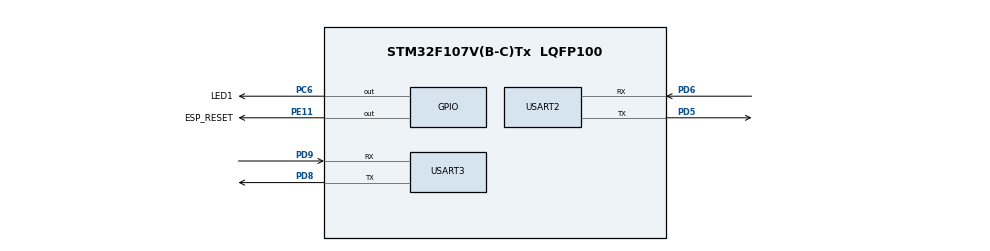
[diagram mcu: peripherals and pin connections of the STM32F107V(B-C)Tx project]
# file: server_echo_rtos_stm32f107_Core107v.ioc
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Dma.Request0=USART3_RX
Dma.USART3_RX.0.Direction=DMA_PERIPH_TO_MEMORY
Dma.USART3_RX.0.Instance=DMA1_Channel3
Dma.USART3_RX.0.MemDataAlignment=DMA_MDATAALIGN_BYTE
Dma.USART3_RX.0.MemInc=DMA_MINC_ENABLE
Dma.USART3_RX.0.Mode=DMA_CIRCULAR
Dma.USART3_RX.0.PeriphDataAlignment=DMA_PDATAALIGN_BYTE
Dma.USART3_RX.0.PeriphInc=DMA_PINC_DISABLE
Dma.USART3_RX.0.Priority=DMA_PRIORITY_LOW
FREERTOS.Tasks01=defaultTask,24,128,StartDefaultTask,Default,NULL,Dynamic,NULL,NULL
Mcu.Family=STM32F1
Mcu.Name=STM32F107V(B-C)Tx
Mcu.Package=LQFP100
NVIC.DMA1_Channel3_IRQn=true\:5\:0\:false\:false\:true\:true\:false\:true
NVIC.PriorityGroup=NVIC_PRIORITYGROUP_4
NVIC.USART3_IRQn=true\:5\:0\:false\:false\:true\:true\:true\:true
OSC_IN.Mode=HSE-External-Oscillator
OSC_IN.Signal=RCC_OSC_IN
OSC_OUT.Mode=HSE-External-Oscillator
OSC_OUT.Signal=RCC_OSC_OUT
PC14-OSC32_IN.Mode=LSE-External-Oscillator
PC14-OSC32_IN.Signal=RCC_OSC32_IN
PC15-OSC32_OUT.Mode=LSE-External-Oscillator
PC15-OSC32_OUT.Signal=RCC_OSC32_OUT
PC6.GPIO_Label=LED1
PC6.Signal=GPIO_Output
PD5.Mode=Asynchronous
PD5.Signal=USART2_TX
PD6.Mode=Asynchronous
PD6.Signal=USART2_RX
PD8.Mode=Asynchronous
PD8.Signal=USART3_TX
PD9.Mode=Asynchronous
PD9.Signal=USART3_RX
PE11.GPIO_Label=ESP_RESET
PE11.Signal=GPIO_Output
ProjectManager.HeapSize=0x400
ProjectManager.StackSize=0x800
ProjectManager.TargetToolchain=Makefile
RCC.AHBFreq_Value=72000000
RCC.APB1CLKDivider=RCC_HCLK_DIV2
RCC.APB1Freq_Value=36000000
RCC.APB1TimFreq_Value=72000000
RCC.APB2Freq_Value=72000000
RCC.APB2TimFreq_Value=72000000
RCC.HCLKFreq_Value=72000000
RCC.HSEDivPLL=RCC_HSE_PREDIV_DIV5
RCC.HSE_VALUE=25000000
RCC.PLLMUL=RCC_PLL_MUL9
RCC.PLLSourceVirtual=RCC_PLLSOURCE_HSE
RCC.Prediv1Source=RCC_PREDIV1_SOURCE_PLL2
RCC.Prediv2=RCC_HSE_PREDIV2_DIV5
RCC.RTCClockSelection=RCC_RTCCLKSOURCE_LSE
RCC.SYSCLKFreq_VALUE=72000000
RCC.SYSCLKSource=RCC_SYSCLKSOURCE_PLLCLK
RCC.USBFreq_Value=48000000
USART2.VirtualMode=VM_ASYNC
USART3.VirtualMode=VM_ASYNC
VP_FREERTOS_VS_CMSIS_V2.Mode=CMSIS_V2
VP_RTC_VS_RTC_Activate.Mode=RTC_Enabled
VP_RTC_VS_RTC_Calendar.Mode=RTC_Calendar
VP_SYS_VS_ND.Mode=No_Debug
board=custom

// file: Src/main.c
/* USER CODE BEGIN Header */
/**
  ******************************************************************************
  * @file           : main.c
  * @brief          : Main program body
  ******************************************************************************
  * @attention
  *
  * <h2><center>&copy; Copyright (c) 2020 STMicroelectronics.
  * All rights reserved.</center></h2>
  *
  * This software component is licensed by ST under Ultimate Liberty license
  * SLA0044, the "License"; You may not use this file except in compliance with
  * the License. You may obtain a copy of the License at:
  *                             www.st.com/SLA0044
  *
  ******************************************************************************
  */
/* USER CODE END Header */

#include "main.h"
#include "cmsis_os.h"

/* USER CODE BEGIN Includes */
#include "esp/esp.h"
#include "station_manager.h"
#include "netconn_client.h"
/* USER CODE END Includes */

/* USER CODE BEGIN PD */
static espr_t esp_callback_func(esp_evt_t* evt);
static espr_t server_callback_func(esp_evt_t* evt);
static void init_thread(void* arg);
/* USER CODE END PD */

/* Definitions for defaultTask */
osThreadId_t defaultTaskHandle;
const osThreadAttr_t defaultTask_attributes = {
  .name = "defaultTask",
  .priority = (osPriority_t) osPriorityNormal,
  .stack_size = 128 * 4
};

void SystemClock_Config(void);
static void MX_GPIO_Init(void);
static void MX_DMA_Init(void);
static void MX_USART2_UART_Init(void);
static void MX_USART3_UART_Init(void);
static void MX_RTC_Init(void);
void StartDefaultTask(void *argument);

int main(void)
{

  /* MCU Configuration--------------------------------------------------------*/

  /* Reset of all peripherals, Initializes the Flash interface and the Systick. */

  LL_APB2_GRP1_EnableClock(LL_APB2_GRP1_PERIPH_AFIO);
  LL_APB1_GRP1_EnableClock(LL_APB1_GRP1_PERIPH_PWR);

  NVIC_SetPriorityGrouping(NVIC_PRIORITYGROUP_4);

  /* System interrupt init*/
  /* PendSV_IRQn interrupt configuration */
  NVIC_SetPriority(PendSV_IRQn, NVIC_EncodePriority(NVIC_GetPriorityGrouping(),15, 0));
  /* SysTick_IRQn interrupt configuration */
  NVIC_SetPriority(SysTick_IRQn, NVIC_EncodePriority(NVIC_GetPriorityGrouping(),15, 0));

  /** DISABLE: JTAG-DP Disabled and SW-DP Disabled
  */
  LL_GPIO_AF_DisableRemap_SWJ();

  /* Configure the system clock */
  SystemClock_Config();

  /* Initialize all configured peripherals */
  MX_GPIO_Init();
  MX_DMA_Init();
  MX_USART2_UART_Init();
  MX_USART3_UART_Init();
  MX_RTC_Init();

  /* Init scheduler */
  osKernelInitialize();

  /* Create the thread(s) */
  /* creation of defaultTask */
  defaultTaskHandle = osThreadNew(StartDefaultTask, NULL, &defaultTask_attributes);

  /* USER CODE BEGIN RTOS_THREADS */
  /* add threads, ... */
    /* Initialize, create first thread and start kernel */
    const osThreadAttr_t attr = {
            .stack_size = 2*512
    };
    osThreadNew(init_thread, NULL, &attr);
  /* USER CODE END RTOS_THREADS */

  /* Start scheduler */
  osKernelStart();

  /* We should never get here as control is now taken by the scheduler */
  /* Infinite loop */
  while (1)
  {

  }
}

void SystemClock_Config(void)
{
  LL_FLASH_SetLatency(LL_FLASH_LATENCY_2);

   if(LL_FLASH_GetLatency() != LL_FLASH_LATENCY_2)
  {
    Error_Handler();
  }
  LL_RCC_HSE_Enable();

   /* Wait till HSE is ready */
  while(LL_RCC_HSE_IsReady() != 1)
  {

  }
  LL_PWR_EnableBkUpAccess();
  LL_RCC_ForceBackupDomainReset();
  LL_RCC_ReleaseBackupDomainReset();
  LL_RCC_LSE_Enable();

   /* Wait till LSE is ready */
  while(LL_RCC_LSE_IsReady() != 1)
  {

  }
  LL_RCC_SetRTCClockSource(LL_RCC_RTC_CLKSOURCE_LSE);
  LL_RCC_EnableRTC();
  LL_RCC_PLL_ConfigDomain_SYS(LL_RCC_PLLSOURCE_PLL2_DIV_5, LL_RCC_PLL_MUL_9);
  LL_RCC_PLL_ConfigDomain_PLL2(LL_RCC_HSE_PREDIV2_DIV_5, LL_RCC_PLL2_MUL_8);
  LL_RCC_PLL2_Enable();

   /* Wait till PLL is ready */
  while(LL_RCC_PLL2_IsReady() != 1)
  {

  }
  LL_RCC_PLL_Enable();

   /* Wait till PLL is ready */
  while(LL_RCC_PLL_IsReady() != 1)
  {

  }
  LL_RCC_SetAHBPrescaler(LL_RCC_SYSCLK_DIV_1);
  LL_RCC_SetAPB1Prescaler(LL_RCC_APB1_DIV_2);
  LL_RCC_SetAPB2Prescaler(LL_RCC_APB2_DIV_1);
  LL_RCC_SetSysClkSource(LL_RCC_SYS_CLKSOURCE_PLL);

   /* Wait till System clock is ready */
  while(LL_RCC_GetSysClkSource() != LL_RCC_SYS_CLKSOURCE_STATUS_PLL)
  {

  }
  LL_Init1msTick(72000000);
  LL_SetSystemCoreClock(72000000);
}

static void MX_RTC_Init(void)
{

  LL_RTC_InitTypeDef RTC_InitStruct = {0};
  LL_RTC_TimeTypeDef RTC_TimeStruct = {0};

    LL_PWR_EnableBkUpAccess();
    /* Enable BKP CLK enable for backup registers */
    LL_APB1_GRP1_EnableClock(LL_APB1_GRP1_PERIPH_BKP);
  /* Peripheral clock enable */
  LL_RCC_EnableRTC();

  /** Initialize RTC and set the Time and Date
  */
  RTC_InitStruct.AsynchPrescaler = 0xFFFFFFFFU;
  LL_RTC_Init(RTC, &RTC_InitStruct);
  LL_RTC_SetAsynchPrescaler(RTC, 0xFFFFFFFFU);
  /** Initialize RTC and set the Time and Date
  */
  RTC_TimeStruct.Hours = 0;
  RTC_TimeStruct.Minutes = 0;
  RTC_TimeStruct.Seconds = 0;
  LL_RTC_TIME_Init(RTC, LL_RTC_FORMAT_BCD, &RTC_TimeStruct);

}

static void MX_USART2_UART_Init(void)
{

  LL_USART_InitTypeDef USART_InitStruct = {0};

  LL_GPIO_InitTypeDef GPIO_InitStruct = {0};

  /* Peripheral clock enable */
  LL_APB1_GRP1_EnableClock(LL_APB1_GRP1_PERIPH_USART2);

  LL_APB2_GRP1_EnableClock(LL_APB2_GRP1_PERIPH_GPIOD);
  /**USART2 GPIO Configuration
  PD5   ------> USART2_TX
  PD6   ------> USART2_RX
  */
  GPIO_InitStruct.Pin = LL_GPIO_PIN_5;
  GPIO_InitStruct.Mode = LL_GPIO_MODE_ALTERNATE;
  GPIO_InitStruct.Speed = LL_GPIO_SPEED_FREQ_HIGH;
  GPIO_InitStruct.OutputType = LL_GPIO_OUTPUT_PUSHPULL;
  LL_GPIO_Init(GPIOD, &GPIO_InitStruct);

  GPIO_InitStruct.Pin = LL_GPIO_PIN_6;
  GPIO_InitStruct.Mode = LL_GPIO_MODE_FLOATING;
  LL_GPIO_Init(GPIOD, &GPIO_InitStruct);

  LL_GPIO_AF_EnableRemap_USART2();

  USART_InitStruct.BaudRate = 115200;
  USART_InitStruct.DataWidth = LL_USART_DATAWIDTH_8B;
  USART_InitStruct.StopBits = LL_USART_STOPBITS_1;
  USART_InitStruct.Parity = LL_USART_PARITY_NONE;
  USART_InitStruct.TransferDirection = LL_USART_DIRECTION_TX_RX;
  USART_InitStruct.HardwareFlowControl = LL_USART_HWCONTROL_NONE;
  USART_InitStruct.OverSampling = LL_USART_OVERSAMPLING_16;
  LL_USART_Init(USART2, &USART_InitStruct);
  LL_USART_ConfigAsyncMode(USART2);
  LL_USART_Enable(USART2);

}

static void MX_USART3_UART_Init(void)
{

  LL_USART_InitTypeDef USART_InitStruct = {0};

  LL_GPIO_InitTypeDef GPIO_InitStruct = {0};

  /* Peripheral clock enable */
  LL_APB1_GRP1_EnableClock(LL_APB1_GRP1_PERIPH_USART3);

  LL_APB2_GRP1_EnableClock(LL_APB2_GRP1_PERIPH_GPIOD);
  /**USART3 GPIO Configuration
  PD8   ------> USART3_TX
  PD9   ------> USART3_RX
  */
  GPIO_InitStruct.Pin = LL_GPIO_PIN_8;
  GPIO_InitStruct.Mode = LL_GPIO_MODE_ALTERNATE;
  GPIO_InitStruct.Speed = LL_GPIO_SPEED_FREQ_HIGH;
  GPIO_InitStruct.OutputType = LL_GPIO_OUTPUT_PUSHPULL;
  LL_GPIO_Init(GPIOD, &GPIO_InitStruct);

  GPIO_InitStruct.Pin = LL_GPIO_PIN_9;
  GPIO_InitStruct.Mode = LL_GPIO_MODE_FLOATING;
  LL_GPIO_Init(GPIOD, &GPIO_InitStruct);

  LL_GPIO_AF_EnableRemap_USART3();

  /* USART3 DMA Init */

  /* USART3_RX Init */
  LL_DMA_SetDataTransferDirection(DMA1, LL_DMA_CHANNEL_3, LL_DMA_DIRECTION_PERIPH_TO_MEMORY);

  LL_DMA_SetChannelPriorityLevel(DMA1, LL_DMA_CHANNEL_3, LL_DMA_PRIORITY_LOW);

  LL_DMA_SetMode(DMA1, LL_DMA_CHANNEL_3, LL_DMA_MODE_CIRCULAR);

  LL_DMA_SetPeriphIncMode(DMA1, LL_DMA_CHANNEL_3, LL_DMA_PERIPH_NOINCREMENT);

  LL_DMA_SetMemoryIncMode(DMA1, LL_DMA_CHANNEL_3, LL_DMA_MEMORY_INCREMENT);

  LL_DMA_SetPeriphSize(DMA1, LL_DMA_CHANNEL_3, LL_DMA_PDATAALIGN_BYTE);

  LL_DMA_SetMemorySize(DMA1, LL_DMA_CHANNEL_3, LL_DMA_MDATAALIGN_BYTE);

  /* USART3 interrupt Init */
  NVIC_SetPriority(USART3_IRQn, NVIC_EncodePriority(NVIC_GetPriorityGrouping(),5, 0));
  NVIC_EnableIRQ(USART3_IRQn);

  USART_InitStruct.BaudRate = 115200;
  USART_InitStruct.DataWidth = LL_USART_DATAWIDTH_8B;
  USART_InitStruct.StopBits = LL_USART_STOPBITS_1;
  USART_InitStruct.Parity = LL_USART_PARITY_NONE;
  USART_InitStruct.TransferDirection = LL_USART_DIRECTION_TX_RX;
  USART_InitStruct.HardwareFlowControl = LL_USART_HWCONTROL_NONE;
  USART_InitStruct.OverSampling = LL_USART_OVERSAMPLING_16;
  LL_USART_Init(USART3, &USART_InitStruct);
  LL_USART_ConfigAsyncMode(USART3);
  LL_USART_Enable(USART3);

}

static void MX_DMA_Init(void)
{

  /* Init with LL driver */
  /* DMA controller clock enable */
  LL_AHB1_GRP1_EnableClock(LL_AHB1_GRP1_PERIPH_DMA1);

  /* DMA interrupt init */
  /* DMA1_Channel3_IRQn interrupt configuration */
  NVIC_SetPriority(DMA1_Channel3_IRQn, NVIC_EncodePriority(NVIC_GetPriorityGrouping(),5, 0));
  NVIC_EnableIRQ(DMA1_Channel3_IRQn);

}

static void MX_GPIO_Init(void)
{
  LL_GPIO_InitTypeDef GPIO_InitStruct = {0};

  /* GPIO Ports Clock Enable */
  LL_APB2_GRP1_EnableClock(LL_APB2_GRP1_PERIPH_GPIOC);
  LL_APB2_GRP1_EnableClock(LL_APB2_GRP1_PERIPH_GPIOE);
  LL_APB2_GRP1_EnableClock(LL_APB2_GRP1_PERIPH_GPIOD);

  /**/
  LL_GPIO_ResetOutputPin(ESP_RESET_GPIO_Port, ESP_RESET_Pin);

  /**/
  LL_GPIO_ResetOutputPin(LED1_GPIO_Port, LED1_Pin);

  /**/
  GPIO_InitStruct.Pin = ESP_RESET_Pin;
  GPIO_InitStruct.Mode = LL_GPIO_MODE_OUTPUT;
  GPIO_InitStruct.Speed = LL_GPIO_SPEED_FREQ_LOW;
  GPIO_InitStruct.OutputType = LL_GPIO_OUTPUT_PUSHPULL;
  LL_GPIO_Init(ESP_RESET_GPIO_Port, &GPIO_InitStruct);

  /**/
  GPIO_InitStruct.Pin = LED1_Pin;
  GPIO_InitStruct.Mode = LL_GPIO_MODE_OUTPUT;
  GPIO_InitStruct.Speed = LL_GPIO_SPEED_FREQ_LOW;
  GPIO_InitStruct.OutputType = LL_GPIO_OUTPUT_PUSHPULL;
  LL_GPIO_Init(LED1_GPIO_Port, &GPIO_InitStruct);

}

/* USER CODE BEGIN 4 */

/* ------------------ ESP32 example ----------------- */
/**
 * \brief           Initialization thread
 * \param[in]       arg: Thread argument
 */
static void
init_thread(void* arg) {
    /* Initialize ESP with default callback function */
    printf("Initializing ESP-AT Lib\r\n");
    if (esp_init(esp_callback_func, 1) != espOK) {
        printf("Cannot initialize ESP-AT Lib!\r\n");
    } else {
        printf("ESP-AT Lib initialized!\r\n");
    }

    while (1) {
        /* Periodically check if device connected to network */
        if (!esp_sta_is_joined()) {
            /*
             * Connect to access point.
             *
             * Try unlimited time until access point accepts up.
             * Check for station_manager.c to define preferred access points ESP should connect to
             */
            connect_to_preferred_access_point(1);
        }
        esp_delay(1000);
    }

	osThreadExit();
}

/**
 * \brief           Request data for connection
 */
static
uint8_t reply_data[20];

/**
 * \brief           Event callback function for connection-only
 * \param[in]       evt: Event information with data
 * \return          espOK on success, member of \ref espr_t otherwise
 */
static espr_t
server_callback_func(esp_evt_t* evt) {
    esp_conn_p conn;
    espr_t res;

    conn = esp_conn_get_from_evt(evt);          /* Get connection handle from event */
    if (conn == NULL) {
        return espERR;
    }
    switch (esp_evt_get_type(evt)) {
        case ESP_EVT_CONN_ACTIVE: {             /* Connection just active */
            printf("Connection active!\r\n");
            /* Do nothing, wait for remote side to send some data */
            break;
        }
        case ESP_EVT_CONN_CLOSE: {              /* Connection closed */
            if (esp_evt_conn_close_is_forced(evt)) {
                printf("Connection closed by server!\r\n");
            } else {
                printf("Connection closed by remote side!\r\n");
            }
            break;
        }
        case ESP_EVT_CONN_RECV: {               /* Data received from remote side */
            esp_pbuf_p pbuf = esp_evt_conn_recv_get_buff(evt);
            size_t length;
            esp_conn_recved(conn, pbuf);        /* Notify stack about received pbuf */

            length = esp_pbuf_length(pbuf, 1);  /* Get length of received packet */
            printf("Received %d bytes on connection\r\n", (int)length);

            length = esp_pbuf_copy(pbuf, reply_data, ESP_MIN(length, sizeof(reply_data)), 0);   /* Copy data from pbuf to memory */
            res = esp_conn_send(conn, reply_data, length, NULL, 0); /* Start sending data in non-blocking mode */
            if (res == espOK) {
                printf("Sending response back to remote side..\r\n");
            } else {
                printf("Cannot send reply to remote side! Closing connection..\r\n");
            }
            break;
        }
        case ESP_EVT_CONN_SEND: {               /* Data send event */
            espr_t res = esp_evt_conn_send_get_result(evt);
            if (res == espOK) {
                printf("Data sent successfully to client\r\n");
            } else {
                printf("Error while sending data!\r\n");
            }
            break;
        }
        default: break;
    }
    return espOK;
}

/**
 * \brief           Event callback function for ESP stack
 * \param[in]       evt: Event information with data
 * \return          espOK on success, member of \ref espr_t otherwise
 */
static espr_t
esp_callback_func(esp_evt_t* evt) {
    espr_t res;
    switch (esp_evt_get_type(evt)) {
        case ESP_EVT_AT_VERSION_NOT_SUPPORTED: {
            esp_sw_version_t v_min, v_curr;

            esp_get_min_at_fw_version(&v_min);
            esp_get_current_at_fw_version(&v_curr);

            printf("Current ESP8266 AT version is not supported by library!\r\n");
            printf("Minimum required AT version is: %d.%d.%d\r\n", (int)v_min.major, (int)v_min.minor, (int)v_min.patch);
            printf("Current AT version is: %d.%d.%d\r\n", (int)v_curr.major, (int)v_curr.minor, (int)v_curr.patch);
            break;
        }
        case ESP_EVT_INIT_FINISH: {
            printf("Library initialized!\r\n");
            break;
        }
        case ESP_EVT_RESET: {
            printf("Device reset sequence finished!\r\n");
            break;
        }
        case ESP_EVT_RESET_DETECTED: {
            printf("Device reset detected!\r\n");
            break;
        }
        case ESP_EVT_WIFI_CONNECTED: {
            /* Start server on port 80 and set callback for new connections */
            printf("Wifi connected\r\n");
            if ((res = esp_set_server(1, 80, ESP_CFG_MAX_CONNS, 100, server_callback_func, NULL, NULL, 0)) == espOK) {
                printf("Starting server on port 80..\r\n");
            } else {
                printf("Cannot start server on port 80..\r\n");
            }
            break;
        }
        case ESP_EVT_WIFI_DISCONNECTED: {
            /* Stop server on port 80, others parameters are don't care */
            printf("Wifi disconnected\r\n");
            if ((res = esp_set_server(0, 80, ESP_CFG_MAX_CONNS, 100, server_callback_func, NULL, NULL, 0)) == espOK) {
                printf("Disabling server on port 80..\r\n");
            } else {
                printf("Cannot disable server on port 80..\r\n");
            }
            break;
        }
        default: break;
    }
    ESP_UNUSED(res);
    return espOK;
}

/* ------------------ Printf ------------------------- */
int _write (int   file,
        char *buf,
        int   nbytes)
{
  int i;

  /* We only handle stdout and stderr */
  //if ((file != STDOUT_FILENO) && (file != STDERR_FILENO))
  //  {
  //    errno = EBADF;
  //    return -1;
  //  }

  /* Output character at at time */
  for (i = 0; i < nbytes; i++) {
    LL_USART_TransmitData8(USART2, (uint8_t)buf[i]);
    while (!LL_USART_IsActiveFlag_TXE(USART2)) {}
  }

  return nbytes;

}       /* _write () */
/* USER CODE END 4 */

void StartDefaultTask(void *argument)
{
  /* USER CODE BEGIN 5 */
  /* Infinite loop */
  for(;;)
  {
    LL_GPIO_SetOutputPin(LED1_GPIO_Port, LED1_Pin);
    osDelay(500);
    LL_GPIO_ResetOutputPin(LED1_GPIO_Port, LED1_Pin);
    osDelay(500);
  }
  /* USER CODE END 5 */
}

void Error_Handler(void)
{
}

/************************ (C) COPYRIGHT STMicroelectronics *****END OF FILE****/
